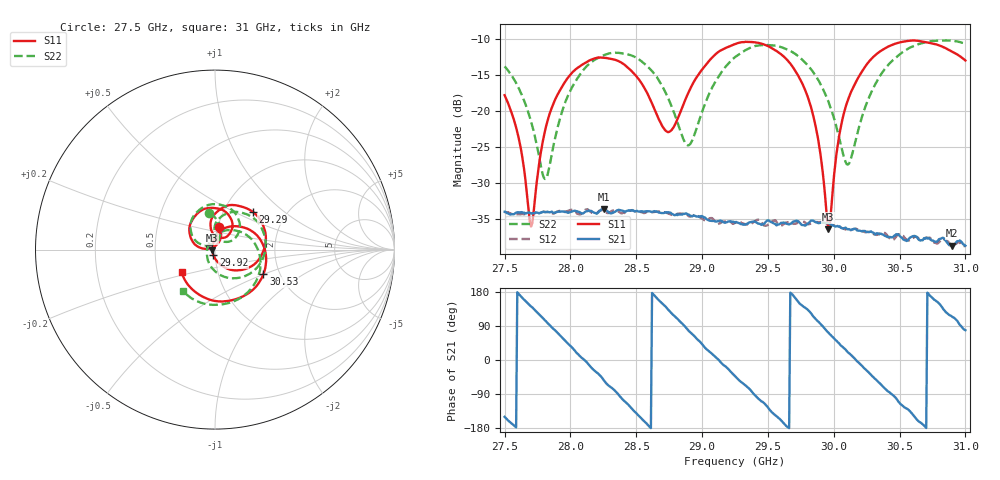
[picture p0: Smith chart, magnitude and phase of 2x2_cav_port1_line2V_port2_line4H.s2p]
!Created with skrf (http://scikit-rf.org).
# GHz S RI R 50.0
!freq ReS11 ImS11 ReS21 ImS21 ReS12 ImS12 ReS22 ImS22
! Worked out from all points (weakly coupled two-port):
!   401 points, 27.5 GHz to 31 GHz, reference 50 ohm
!   highest |S21| = -33.55 dB at 28.25 GHz (marker M1); lowest = -38.7 dB at 30.89 GHz (marker M2)
!   lowest |S11| = -36.4 dB at 29.96 GHz (marker M3), VSWR 1.03, Z = 48.5 - j0.312 ohm
!   |S11| at or under -10 dB: start of sweep to end of sweep
!   |S22| runs from -29.4 to -10.2 dB; largest |S21 - S12| = 0.0013
!   S11 on the Smith chart (normalised r, x): 27.5 GHz: 1.01, +0.26; 29.29 GHz: 1.36, +0.63; 29.92 GHz: 0.98, -0.06; 30.53 GHz: 1.65, -0.49; 31 GHz: 0.67, -0.18
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27.5  0.0236 0.1266  -0.0174 -0.0101  -0.0172 -0.0103  -0.031 0.2015
27.605  0.03 0.0591  -0.0198 0.00176  -0.0192 0.00182  0.0229 0.1438
27.70125  -0.00749 0.014  -0.0153 0.0123  -0.0153 0.0122  0.0286 0.0795
27.815  -0.0779 0.00878  -0.00416 0.0195  -0.00386 0.0196  -0.0187 0.0284
27.94625  -0.1364 0.0693  0.0115 0.0166  0.0116 0.0166  -0.0979 0.0401
28.08625  -0.1266 0.1657  0.0194 0.0019  0.0194 0.00255  -0.1366 0.1269
28.2525  -0.0283 0.2325  0.0126 -0.0168  0.0121 -0.0165  -0.0722 0.2322
28.48875  0.0961 0.1512  -0.0147 -0.0139  -0.0147 -0.0138  0.1029 0.2138
28.6725  0.0554 0.0674  -0.0183 0.00764  -0.0188 0.00733  0.1323 0.0952
28.76  0.0127 0.0715  -0.0117 0.016  -0.0113 0.0157  0.0991 0.0535
28.9  -0.0252 0.1342  0.00452 0.0186  0.00446 0.0181  0.0244 0.0526
29.25  0.181 0.2278  0.0126 -0.0114  0.0127 -0.011  0.1078 0.2104
29.285  0.2094 0.2116  0.00962 -0.0137  0.01 -0.0138  0.137 0.2079
29.62625  0.2222 -0.0792  -0.0165 -0.00306  -0.0162 -0.00352  0.268 -0.0461
29.83625  0.0399 -0.0908  -0.00849 0.0152  -0.00812 0.0147  0.1026 -0.1603
29.92375  -0.00879 -0.0315  0.00121 0.0168  0.00128 0.0167  0.0223 -0.1366
29.95875  -0.0148 -0.00321  0.00504 0.0159  0.00498 0.0159  -0.00386 -0.1167
30.1075  0.0415 0.1115  0.0142 0.00529  0.0139 0.00532  -0.0409 0.0119
30.4225  0.2814 -0.0172  0.00116 -0.0134  0.000507 -0.0132  0.2056 0.0559
30.5275  0.2696 -0.1366  -0.00681 -0.011  -0.0074 -0.0115  0.2522 -0.0512
30.895  -0.1132 -0.2332  -0.00506 0.0105  -0.00487 0.0108  -0.0574 -0.302
31  -0.1859 -0.1251  0.00231 0.0114  0.00184 0.0114  -0.1794 -0.2322
